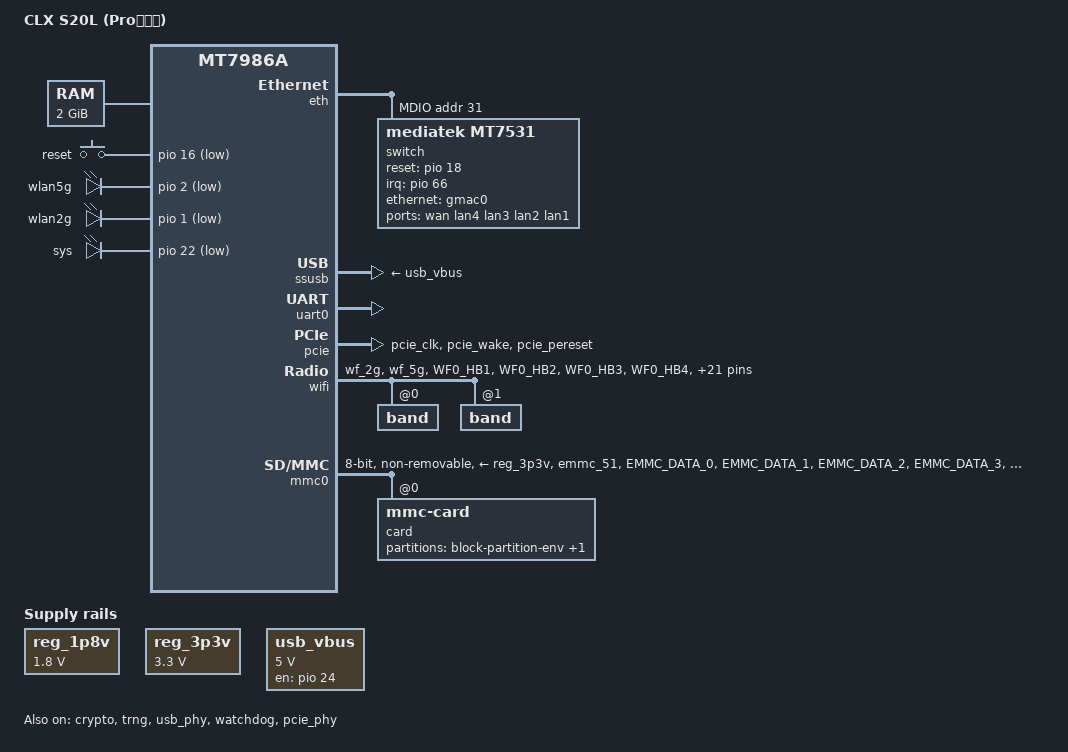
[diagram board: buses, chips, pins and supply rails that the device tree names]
// SPDX-License-Identifier: GPL-2.0-or-later OR MIT

/dts-v1/;
#include <dt-bindings/gpio/gpio.h>
#include <dt-bindings/input/input.h>
#include <dt-bindings/pinctrl/mt65xx.h>

#include "mt7986a.dtsi"

/ {
	model = "CLX S20L (Pro青春版)";
	compatible = "clx,s20l", "mediatek,mt7986a";

	aliases {
		serial0 = &uart0;
		label-mac-device = &gmac0;
		led-boot = &led_sys;
		led-failsafe = &led_sys;
		led-running = &led_sys;
		led-upgrade = &led_sys;
	};

	chosen {
		stdout-path = "serial0:115200n8";
		bootargs-append = "root=PARTLABEL=rootfs rootwait rootfstype=squashfs,f2fs";

	};

	memory {
		reg = <0 0x40000000 0 0x80000000>;
	};

	reg_1p8v: regulator-1p8v {
		compatible = "regulator-fixed";
		regulator-name = "1.8vd";
		regulator-min-microvolt = <1800000>;
		regulator-max-microvolt = <1800000>;
		regulator-boot-on;
		regulator-always-on;
	};

	reg_3p3v: regulator-3p3v {
		compatible = "regulator-fixed";
		regulator-name = "fixed-3.3V";
		regulator-min-microvolt = <3300000>;
		regulator-max-microvolt = <3300000>;
		regulator-boot-on;
		regulator-always-on;
	};

	keys {
		compatible = "gpio-keys";

		reset {
			label = "reset";
			linux,code = <KEY_RESTART>;
			gpios = <&pio 16 GPIO_ACTIVE_LOW>;
		};
	};

	leds {
		compatible = "gpio-leds";

		led_wlan5g {
			label = "wlan5g";
			gpios = <&pio 2 GPIO_ACTIVE_LOW>;
		};

		led_wlan2g {
			label = "wlan2g";
			gpios = <&pio 1 GPIO_ACTIVE_LOW>;
		};

		led_sys: led_sys {
			label = "sys";
			gpios = <&pio 22 GPIO_ACTIVE_LOW>;
		};
	};


	usb_vbus: regulator-usb-vbus {
		compatible = "regulator-fixed";
		regulator-name = "usb_vbus";
		regulator-min-microvolt = <5000000>;
		regulator-max-microvolt = <5000000>;
		gpios = <&pio 24 GPIO_ACTIVE_HIGH>;
		enable-active-high;
		regulator-boot-on;
	};
};

&eth {
	status = "okay";

	//switch
	gmac0: mac@0 {
		compatible = "mediatek,eth-mac";
		reg = <0>;
		phy-mode = "2500base-x";

		nvmem-cells = <&macaddr_factory_2a 0>;
		nvmem-cell-names = "mac-address";

		fixed-link {
			speed = <2500>;
			full-duplex;
			pause;
		};
	};

	//unused ?
	gmac1: mac@1 {
		compatible = "mediatek,eth-mac";
		reg = <1>;
		phy-mode = "2500base-x";

		nvmem-cells = <&macaddr_factory_24 0>;
		nvmem-cell-names = "mac-address";

		fixed-link {
			speed = <2500>;
			full-duplex;
			pause;
		};
	};


	mdio: mdio-bus {
		#address-cells = <1>;
		#size-cells = <0>;

		switch: switch@1f {
			compatible = "mediatek,mt7531";
			reg = <31>;
			reset-gpios = <&pio 18 GPIO_ACTIVE_HIGH>;
			interrupt-controller;
			#interrupt-cells = <1>;
			interrupt-parent = <&pio>;
			interrupts = <66 IRQ_TYPE_LEVEL_HIGH>;

			ports {
				#address-cells = <1>;
				#size-cells = <0>;

				port@0 {
					reg = <0>;
					label = "wan";
				};

				port@1 {
					reg = <1>;
					label = "lan4";
				};

				port@2 {
					reg = <2>;
					label = "lan3";
				};

				port@3 {
					reg = <3>;
					label = "lan2";
				};

				port@4 {
					reg = <4>;
					label = "lan1";
				};

				port@6 {
					reg = <6>;
					ethernet = <&gmac0>;
					phy-mode = "2500base-x";

					fixed-link {
						speed = <2500>;
						full-duplex;
						pause;
					};
				};
			};
		};
	};
};


&pio {
	wf_dbdc_pins: wf-dbdc-pins {
		mux {
			function = "wifi";
			groups = "wf_dbdc";
		};
		conf {
			pins = "WF0_HB1", "WF0_HB2", "WF0_HB3", "WF0_HB4",
			       "WF0_HB0", "WF0_HB0_B", "WF0_HB5", "WF0_HB6",
			       "WF0_HB7", "WF0_HB8", "WF0_HB9", "WF0_HB10",
			       "WF0_TOP_CLK", "WF0_TOP_DATA", "WF1_HB1",
			       "WF1_HB2", "WF1_HB3", "WF1_HB4", "WF1_HB0",
			       "WF1_HB5", "WF1_HB6", "WF1_HB7", "WF1_HB8",
			       "WF1_TOP_CLK", "WF1_TOP_DATA";
			drive-strength = <4>;
		};
	};

	wf_2g_5g_pins: wf-2g-5g-pins {
		mux {
			function = "wifi";
			groups = "wf_2g", "wf_5g";
		};
		conf {
			pins = "WF0_HB1", "WF0_HB2", "WF0_HB3", "WF0_HB4",
			       "WF0_HB0", "WF0_HB0_B", "WF0_HB5", "WF0_HB6",
			       "WF0_HB7", "WF0_HB8", "WF0_HB9", "WF0_HB10",
			       "WF0_TOP_CLK", "WF0_TOP_DATA", "WF1_HB1",
			       "WF1_HB2", "WF1_HB3", "WF1_HB4", "WF1_HB0",
			       "WF1_HB5", "WF1_HB6", "WF1_HB7", "WF1_HB8",
			       "WF1_TOP_CLK", "WF1_TOP_DATA";
			drive-strength = <4>;
		};
	};

	pcie_pins: pcie-pins {
		mux {
			function = "pcie";
			groups = "pcie_clk", "pcie_wake", "pcie_pereset";
		};
	};

	mmc0_pins_default: mmc0-pins {
		mux {
			function = "emmc";
			groups = "emmc_51";
		};
		conf-cmd-dat {
			pins = "EMMC_DATA_0", "EMMC_DATA_1", "EMMC_DATA_2",
			       "EMMC_DATA_3", "EMMC_DATA_4", "EMMC_DATA_5",
			       "EMMC_DATA_6", "EMMC_DATA_7", "EMMC_CMD";
			input-enable;
			drive-strength = <4>;
			mediatek,pull-up-adv = <1>;	/* pull-up 10K */
		};
		conf-clk {
			pins = "EMMC_CK";
			drive-strength = <6>;
			mediatek,pull-down-adv = <2>;	/* pull-down 50K */
		};
		conf-ds {
			pins = "EMMC_DSL";
			mediatek,pull-down-adv = <2>;	/* pull-down 50K */
		};
		conf-rst {
			pins = "EMMC_RSTB";
			drive-strength = <4>;
			mediatek,pull-up-adv = <1>;	/* pull-up 10K */
		};
	};

	mmc0_pins_uhs: mmc0-uhs-pins {
		mux {
			function = "emmc";
			groups = "emmc_51";
		};
		conf-cmd-dat {
			pins = "EMMC_DATA_0", "EMMC_DATA_1", "EMMC_DATA_2",
			       "EMMC_DATA_3", "EMMC_DATA_4", "EMMC_DATA_5",
			       "EMMC_DATA_6", "EMMC_DATA_7", "EMMC_CMD";
			input-enable;
			drive-strength = <4>;
			mediatek,pull-up-adv = <1>;	/* pull-up 10K */
		};
		conf-clk {
			pins = "EMMC_CK";
			drive-strength = <6>;
			mediatek,pull-down-adv = <2>;	/* pull-down 50K */
		};
		conf-ds {
			pins = "EMMC_DSL";
			mediatek,pull-down-adv = <2>;	/* pull-down 50K */
		};
		conf-rst {
			pins = "EMMC_RSTB";
			drive-strength = <4>;
			mediatek,pull-up-adv = <1>;	/* pull-up 10K */
		};
	};
};

&crypto {
	status = "okay";
};

&ssusb {
	vusb33-supply = <&reg_3p3v>;
	vbus-supply = <&usb_vbus>;
	status = "okay";
};

&trng {
	status = "okay";
};

&uart0 {
	status = "okay";
};

&usb_phy {
	status = "okay";
};

&watchdog {
	status = "okay";
};

&pcie {
	pinctrl-names = "default";
	pinctrl-0 = <&pcie_pins>;
	status = "okay";

	slot0: pcie@0,0 {
		reg = <0x0000 0 0 0 0>;
	};
};

&pcie_phy {
	status = "okay";
};

&wifi {
	status = "okay";
	pinctrl-names = "default", "dbdc";
	pinctrl-0 = <&wf_2g_5g_pins>;
	pinctrl-1 = <&wf_dbdc_pins>;

	nvmem-cells = <&eeprom_factory_0>;
	nvmem-cell-names = "eeprom";

	band@0 {
		/* 2.4 GHz */
		reg = <0>;
		nvmem-cells = <&macaddr_factory_2a 2>;
		nvmem-cell-names = "mac-address";
	};
	band@1 {
		/* 5 GHz */
		reg = <1>;
		nvmem-cells = <&macaddr_factory_2a 3>;
		nvmem-cell-names = "mac-address";
	};
};

&mmc0 {
	pinctrl-names = "default", "state_uhs";
	pinctrl-0 = <&mmc0_pins_default>;
	pinctrl-1 = <&mmc0_pins_uhs>;
	bus-width = <8>;
	max-frequency = <200000000>;
	cap-mmc-highspeed;
	mmc-hs200-1_8v;
	mmc-hs400-1_8v;
	hs400-ds-delay = <0x14014>;
	vmmc-supply = <&reg_3p3v>;
	vqmmc-supply = <&reg_1p8v>;
	non-removable;
	no-sd;
	no-sdio;
	status = "okay";

	card@0 {
		compatible = "mmc-card";
		reg = <0>;

		block {
			compatible = "block-device";
			partitions {
				block-partition-env {
					partname = "u-boot-env";

					nvmem-layout {
						compatible = "u-boot,env";
					};
				};

				block-partition-factory {
					partname = "factory";

					nvmem-layout {
						compatible = "fixed-layout";
						#address-cells = <1>;
						#size-cells = <1>;

						eeprom_factory_0: eeprom@0 {
							reg = <0x0 0x1000>;
						};

						macaddr_factory_24: macaddr@24 {
							compatible = "mac-base";
							reg = <0x24 0x6>;
							#nvmem-cell-cells = <1>;
						};

						macaddr_factory_2a: macaddr@2a {
							compatible = "mac-base";
							reg = <0x2a 0x6>;
							#nvmem-cell-cells = <1>;
						};
					};
				};
			};
		};
	};
};
